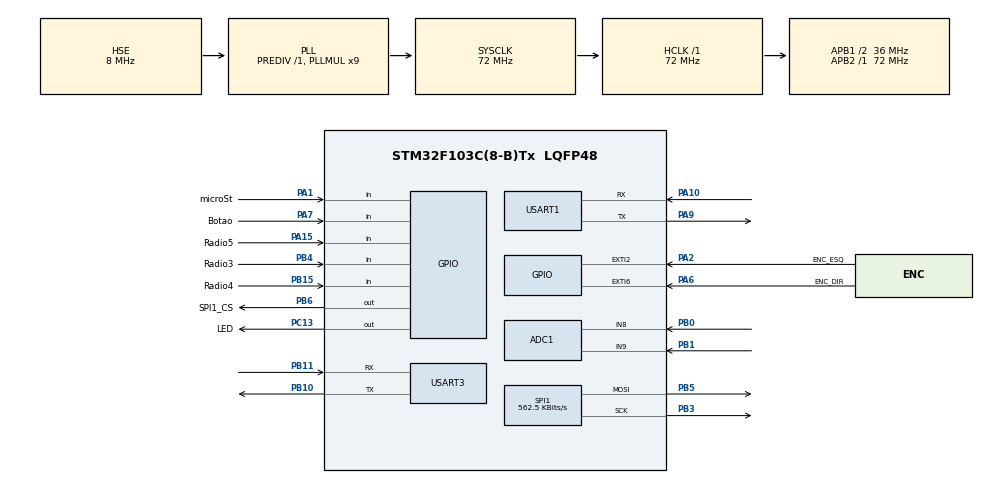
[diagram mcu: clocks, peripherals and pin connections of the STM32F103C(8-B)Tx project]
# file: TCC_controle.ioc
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ADC1.Channel-0\#ChannelRegularConversion=ADC_CHANNEL_9
ADC1.ContinuousConvMode=ENABLE
ADC1.NbrOfConversionFlag=1
ADC1.Rank-0\#ChannelRegularConversion=1
ADC1.SamplingTime-0\#ChannelRegularConversion=ADC_SAMPLETIME_1CYCLE_5
ADC1.master=1
Dma.ADC1.0.Direction=DMA_PERIPH_TO_MEMORY
Dma.ADC1.0.Instance=DMA1_Channel1
Dma.ADC1.0.MemDataAlignment=DMA_MDATAALIGN_WORD
Dma.ADC1.0.MemInc=DMA_MINC_ENABLE
Dma.ADC1.0.Mode=DMA_CIRCULAR
Dma.ADC1.0.PeriphDataAlignment=DMA_PDATAALIGN_WORD
Dma.ADC1.0.PeriphInc=DMA_PINC_DISABLE
Dma.ADC1.0.Priority=DMA_PRIORITY_LOW
Dma.Request0=ADC1
Mcu.Family=STM32F1
Mcu.Name=STM32F103C(8-B)Tx
Mcu.Package=LQFP48
NVIC.DMA1_Channel1_IRQn=true\:0\:0\:false\:false\:true\:false\:true\:true
NVIC.EXTI2_IRQn=true\:1\:0\:true\:false\:true\:true\:true\:true
NVIC.EXTI9_5_IRQn=true\:1\:0\:true\:false\:true\:true\:true\:true
NVIC.PriorityGroup=NVIC_PRIORITYGROUP_4
NVIC.TIM3_IRQn=true\:0\:0\:false\:false\:true\:true\:true\:true
NVIC.TIM4_IRQn=true\:0\:0\:false\:false\:true\:true\:true\:true
PA1.GPIO_Label=microSt
PA1.Signal=GPIO_Input
PA10.Mode=Asynchronous
PA10.Signal=USART1_RX
PA13.Mode=Serial_Wire
PA13.Signal=SYS_JTMS-SWDIO
PA14.Mode=Serial_Wire
PA14.Signal=SYS_JTCK-SWCLK
PA15.GPIO_Label=Radio5
PA15.Signal=GPIO_Input
PA2.GPIO_Label=ENC_ESQ
PA2.GPIO_PuPd=GPIO_NOPULL
PA2.Signal=GPXTI2
PA6.GPIO_Label=ENC_DIR
PA6.GPIO_PuPd=GPIO_NOPULL
PA6.Signal=GPXTI6
PA7.GPIO_Label=Botao
PA7.GPIO_PuPd=GPIO_PULLUP
PA7.Signal=GPIO_Input
PA9.Mode=Asynchronous
PA9.Signal=USART1_TX
PB0.Signal=ADCx_IN8
PB1.Signal=ADCx_IN9
PB10.Mode=Asynchronous
PB10.Signal=USART3_TX
PB11.Mode=Asynchronous
PB11.Signal=USART3_RX
PB15.GPIO_Label=Radio4
PB15.Signal=GPIO_Input
PB3.Mode=TX_Only_Simplex_Unidirect_Master
PB3.Signal=SPI1_SCK
PB4.GPIO_Label=Radio3
PB4.Signal=GPIO_Input
PB5.Mode=TX_Only_Simplex_Unidirect_Master
PB5.Signal=SPI1_MOSI
PB6.GPIO_Label=SPI1_CS
PB6.GPIO_Speed=GPIO_SPEED_FREQ_HIGH
PB6.PinState=GPIO_PIN_SET
PB6.Signal=GPIO_Output
PC13-TAMPER-RTC.GPIO_Label=LED
PC13-TAMPER-RTC.PinState=GPIO_PIN_SET
PC13-TAMPER-RTC.Signal=GPIO_Output
PC14-OSC32_IN.Mode=LSE-External-Oscillator
PC14-OSC32_IN.Signal=RCC_OSC32_IN
PC15-OSC32_OUT.Mode=LSE-External-Oscillator
PC15-OSC32_OUT.Signal=RCC_OSC32_OUT
PD0-OSC_IN.Mode=HSE-External-Oscillator
PD0-OSC_IN.Signal=RCC_OSC_IN
PD1-OSC_OUT.Mode=HSE-External-Oscillator
PD1-OSC_OUT.Signal=RCC_OSC_OUT
ProjectManager.HeapSize=0x200
ProjectManager.StackSize=0x400
ProjectManager.TargetToolchain=STM32CubeIDE
RCC.ADCPresc=RCC_ADCPCLK2_DIV6
RCC.AHBFreq_Value=72000000
RCC.APB1CLKDivider=RCC_HCLK_DIV2
RCC.APB1Freq_Value=36000000
RCC.APB1TimFreq_Value=72000000
RCC.APB2Freq_Value=72000000
RCC.APB2TimFreq_Value=72000000
RCC.HCLKFreq_Value=72000000
RCC.PLLMUL=RCC_PLL_MUL9
RCC.PLLSourceVirtual=RCC_PLLSOURCE_HSE
RCC.SYSCLKFreq_VALUE=72000000
RCC.SYSCLKSource=RCC_SYSCLKSOURCE_PLLCLK
RCC.USBFreq_Value=72000000
SH.ADCx_IN8.0=ADC1_IN8,IN8
SH.ADCx_IN9.0=ADC1_IN9,IN9
SPI1.BaudRatePrescaler=SPI_BAUDRATEPRESCALER_128
SPI1.CalculateBaudRate=562.5 KBits/s
SPI1.Direction=SPI_DIRECTION_2LINES
SPI1.Mode=SPI_MODE_MASTER
SPI1.VirtualType=VM_MASTER
TIM3.AutoReloadPreload=TIM_AUTORELOAD_PRELOAD_ENABLE
TIM3.Period=3600
TIM3.Prescaler=999
TIM4.Period=900
TIM4.Prescaler=999
USART1.VirtualMode=VM_ASYNC
USART3.VirtualMode=VM_ASYNC
VP_TIM3_VS_ClockSourceINT.Mode=Internal
VP_TIM4_VS_ClockSourceINT.Mode=Internal
board=custom

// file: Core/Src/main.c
/* USER CODE BEGIN Header */
/**
  ******************************************************************************
  * @file           : main.c
  * @brief          : Main program body
  ******************************************************************************
  * @attention
  *
  * <h2><center>&copy; Copyright (c) 2022 STMicroelectronics.
  * All rights reserved.</center></h2>
  *
  * This software component is licensed by ST under BSD 3-Clause license,
  * the "License"; You may not use this file except in compliance with the
  * License. You may obtain a copy of the License at:
  *                        opensource.org/licenses/BSD-3-Clause
  *
  ******************************************************************************
  */
/* USER CODE END Header */
#include "main.h"
#include "adc.h"
#include "dma.h"
#include "spi.h"
#include "tim.h"
#include "usart.h"
#include "gpio.h"

/* USER CODE BEGIN Includes */
#include "bluetooth.h"
#include "control.h"
#include "dwt.h"
#include "user_adc.h"
#include "pcs.h"
#include "motor.h"
#include "periph_spi.h"
#include "string.h"
/* USER CODE END Includes */

/* USER CODE BEGIN PV */

/* Largura de pulso dos canais PWM em [us] */
int32_t Radio3, Radio4, Radio5;

/* USER CODE END PV */

void SystemClock_Config(void);

int main(void)
{
  /* USER CODE BEGIN 1 */

  int32_t val_MR, val_ML; // usado no RC

//  uint16_t Current_MR, Current_ML;
  jogada3Kg_TypeDef state_machine = CONFIG;

  /* USER CODE END 1 */

  /* MCU Configuration--------------------------------------------------------*/

  /* Reset of all peripherals, Initializes the Flash interface and the Systick. */
  HAL_Init();

  /* Configure the system clock */
  SystemClock_Config();

  /* USER CODE BEGIN SysInit */
  // DWT initialization
  DWT_Init();
  /* USER CODE END SysInit */

  /* Initialize all configured peripherals */
  MX_GPIO_Init();
  MX_DMA_Init();
  MX_ADC1_Init();
  MX_USART1_UART_Init();
  MX_USART3_UART_Init();
  MX_SPI1_Init();
  MX_TIM3_Init();
  MX_TIM4_Init();
  /* USER CODE BEGIN 2 */

  user_adc_Init();
  HAL_TIM_Base_Start_IT(&htim3);
  bluetoothPrint((uint8_t*) "Bem vindo :D\n");
  motorL(0);
  motorR(0);

  // Help variableS
  uint8_t lock = 0;
  uint8_t alternador = 0;

  int32_t ang_degrees;
  int32_t dist_micrometers;
  int32_t pos_x = 3000000, pos_y = 3000000;
  uint8_t aux[20];
  /* USER CODE END 2 */

  /* Infinite loop */
  /* USER CODE BEGIN WHILE */
/* LOOP ***********************************************************************/
  while (1)
  {
	  switch (state_machine)
	  {
	  case CONFIG:
		  memset(aux,0,sizeof(aux));
		  HAL_UART_Receive(&huart3, (uint8_t *)aux, 8, 100);
		  if(aux[0] != 0 && pos_x == 3000000){
			  pos_x = 0;
			  if(aux[0] == '-'){
				  for(int i = 1;i < strlen(aux); i++){
					  pos_x*=10;
					  pos_x +=(aux[i]-'0');
				  }
				  pos_x*=-1;
			  }
			  else {
				  for(int i = 0;i < strlen(aux); i++){
					  pos_x*=10;
					  pos_x +=(aux[i]-'0');
				  }
			  }
			  bluetoothPrint((uint8_t *)"\nX: ");
			  bluetoothPrintVal(pos_x);
			  bluetoothPrint((uint8_t *)" um\n");
		  }
		  else if (aux[0] != 0){
			  pos_y = 0;
			  if(aux[0] == '-'){
				  for(int i = 1;i < strlen(aux); i++){
					  pos_y*=10;
					  pos_y +=(aux[i]-'0');
				  }
				  pos_y*=-1;
			  }
			  else {
				  for(int i = 0;i < strlen(aux); i++){
					  pos_y*=10;
					  pos_y +=(aux[i]-'0');
				  }
			  }
			  bluetoothPrint((uint8_t *)"\nY: ");
			  bluetoothPrintVal(pos_y);
			  bluetoothPrint((uint8_t *)" um\n");

			  control_setXYSetPoint(pos_x, pos_y);

			  state_machine = JOGADA_POS;
		  }
		  break;

	  case JOGADA_POS:
		  if(control_process()){
			  state_machine = JOGADA_STOP;
		  }
		  HAL_Delay(10);
		  break;

	  case JOGADA_STOP:
		  motorL(0);
		  motorR(0);
		  HAL_Delay(2000);

		  break;

	  case CONFIG_GIRO:
		  aux[0] = 0;
		  HAL_UART_Receive(&huart3, (uint8_t *)aux, 3, 100);
		  if(!aux[0])
		  {
			  state_machine = CONFIG;
		  }
		  else{
			  if(aux[0] != '-')
				  ang_degrees = (aux[0]-'0')*10 + (aux[1]-'0');
			  else	ang_degrees = (-1)*((aux[1]-'0')*10 + (aux[2]-'0'));
			  bluetoothPrint((uint8_t *)"\nAng: ");
			  bluetoothPrintVal(ang_degrees);
			  bluetoothPrint((uint8_t *)"°\n");
			  control_setThetaSetPoint(ang_degrees*0.0174533);

			  state_machine = JOGADA_GIRO;
		  }
		  break;
/* END CONFIG GIRO STATE ******************************************************/

	  case CONFIG_RETO:
		  memset(aux,0,sizeof(aux));
		  HAL_UART_Receive(&huart3, (uint8_t *)aux, 8, 100);
		  if(!aux[0])
		  {
			  state_machine = CONFIG;
		  }
		  else{
			  dist_micrometers = 0;
			  for(int i = 0;i < strlen(aux); i++){
				  dist_micrometers*=10;
				  dist_micrometers +=(aux[i]-'0');
			  }
			  bluetoothPrint((uint8_t *)"\nDist: ");
			  bluetoothPrintVal(dist_micrometers);
			  bluetoothPrint((uint8_t *)" um\n");
			  control_setXYSetPoint(0, dist_micrometers);
			  state_machine = JOGADA_RETO;
		  }
		  break;
/* END CONFIG RETO STATE ******************************************************/

	  case JOGADA_RC:
		  // DEBUG RC READ
//		  bluetoothPrint((uint8_t*) "THR: ");
//		  bluetoothPrintVal(Radio4);
//		  bluetoothPrint((uint8_t*) "\nRUD: ");
//		  bluetoothPrintVal(Radio5);
		  Radio4 = readPWM(Radio4_GPIO_Port, Radio4_Pin);
		  Radio5 = readPWM(Radio5_GPIO_Port, Radio5_Pin);
		  Radio4 = ((Radio4 - 1500) * 63) / 500;
		  Radio5 = ((Radio5 - 1500) * 63) / 500;

		  val_MR = (Radio4 + Radio5);
		  val_MR = val_MR > 63 ? 63 : val_MR;
		  val_ML = (Radio4 - Radio5);
		  val_ML = val_ML < -63 ? -63 : val_ML;
		  motorR(val_MR);
		  motorL(val_ML);

		  // DEBUG MOTOR CURRENT
//		  readMotorCurrent(&Current_ML, &Current_MR);
//		  bluetoothPrint((uint8_t *)"ML: ");
//		  bluetoothPrintVal(Current_ML);
//		  bluetoothPrint((uint8_t *)"\nMR: ");
//		  bluetoothPrintVal(Current_MR);
//		  bluetoothPrint((uint8_t*) "\n\n");

		  // PRINT EVERY 1000 ms
//		  if(HAL_GetTick() % 1000 < 100 && !lock){
//			  lock = 1;
//			  bluetoothPrint((uint8_t*) "\n--------------------------\nEncoder DIR:");
//			  bluetoothPrintVal(control_getDesD());
//			  bluetoothPrint((uint8_t*) "\nVelD: ");
//			  bluetoothPrintVal(control_getVelD());
//			  bluetoothPrint((uint8_t*) "\n\nEncoder ESQ:");
//			  bluetoothPrintVal(control_getDesE());
//			  bluetoothPrint((uint8_t*) "\nVelE: ");
//			  bluetoothPrintVal(control_getVelE());
//			  bluetoothPrint((uint8_t*)"\n--------------------------\n");
//		  }
//		  else {
//			  lock = 0;
//		  }

		  break;

/* END RC STATE ***************************************************************/
	  case JOGADA_GIRO:
		  if(control_rotacao())
			  state_machine = JOGADA_STOP;

		  HAL_Delay(10);
		  break;
/* END GIRO *******************************************************************/

	  case JOGADA_RETO:
		  if(control_reta())
			  state_machine = JOGADA_STOP;
		  HAL_Delay(10);
		  break;
/* END RETO *******************************************************************/
	  case TESTE_SPI:

		  // PRINT EVERY 1000 ms
		  if(HAL_GetTick() % 1000 == 0 && !lock){
			  lock = 1;
			  switch (alternador) {
				case 0:
					periph_spi_sendBatteryVoltage();
					break;
				case 1:
					periph_spi_sendLeftMotorPower(-63);
					break;
				case 2:
					periph_spi_sendMotorCurrent();
					break;
				case 3:
					periph_spi_sendMotorSpeed();
					break;
				case 4:
					periph_spi_sendRightMotorPower(63);
					break;
				case 5:
					periph_spi_sendSelectedMove(TESTE_SPI);
					break;
			}
			alternador++;
			alternador %=6;
		  }
		  else
			  lock = 0;
		  break;
/* END TESTE SPI STATE ***************************************************************/
	  } // END STATE MACHINE
    /* USER CODE END WHILE */

  }
}

void SystemClock_Config(void)
{
  RCC_OscInitTypeDef RCC_OscInitStruct = {0};
  RCC_ClkInitTypeDef RCC_ClkInitStruct = {0};
  RCC_PeriphCLKInitTypeDef PeriphClkInit = {0};

  /** Initializes the RCC Oscillators according to the specified parameters
  * in the RCC_OscInitTypeDef structure.
  */
  RCC_OscInitStruct.OscillatorType = RCC_OSCILLATORTYPE_HSE;
  RCC_OscInitStruct.HSEState = RCC_HSE_ON;
  RCC_OscInitStruct.HSEPredivValue = RCC_HSE_PREDIV_DIV1;
  RCC_OscInitStruct.HSIState = RCC_HSI_ON;
  RCC_OscInitStruct.PLL.PLLState = RCC_PLL_ON;
  RCC_OscInitStruct.PLL.PLLSource = RCC_PLLSOURCE_HSE;
  RCC_OscInitStruct.PLL.PLLMUL = RCC_PLL_MUL9;
  if (HAL_RCC_OscConfig(&RCC_OscInitStruct) != HAL_OK)
  {
    Error_Handler();
  }
  /** Initializes the CPU, AHB and APB buses clocks
  */
  RCC_ClkInitStruct.ClockType = RCC_CLOCKTYPE_HCLK|RCC_CLOCKTYPE_SYSCLK
                              |RCC_CLOCKTYPE_PCLK1|RCC_CLOCKTYPE_PCLK2;
  RCC_ClkInitStruct.SYSCLKSource = RCC_SYSCLKSOURCE_PLLCLK;
  RCC_ClkInitStruct.AHBCLKDivider = RCC_SYSCLK_DIV1;
  RCC_ClkInitStruct.APB1CLKDivider = RCC_HCLK_DIV2;
  RCC_ClkInitStruct.APB2CLKDivider = RCC_HCLK_DIV1;

  if (HAL_RCC_ClockConfig(&RCC_ClkInitStruct, FLASH_LATENCY_2) != HAL_OK)
  {
    Error_Handler();
  }
  PeriphClkInit.PeriphClockSelection = RCC_PERIPHCLK_ADC;
  PeriphClkInit.AdcClockSelection = RCC_ADCPCLK2_DIV6;
  if (HAL_RCCEx_PeriphCLKConfig(&PeriphClkInit) != HAL_OK)
  {
    Error_Handler();
  }
}

void Error_Handler(void)
{
  __disable_irq();
  while (1)
  {
  }
}

/************************ (C) COPYRIGHT STMicroelectronics *****END OF FILE****/
